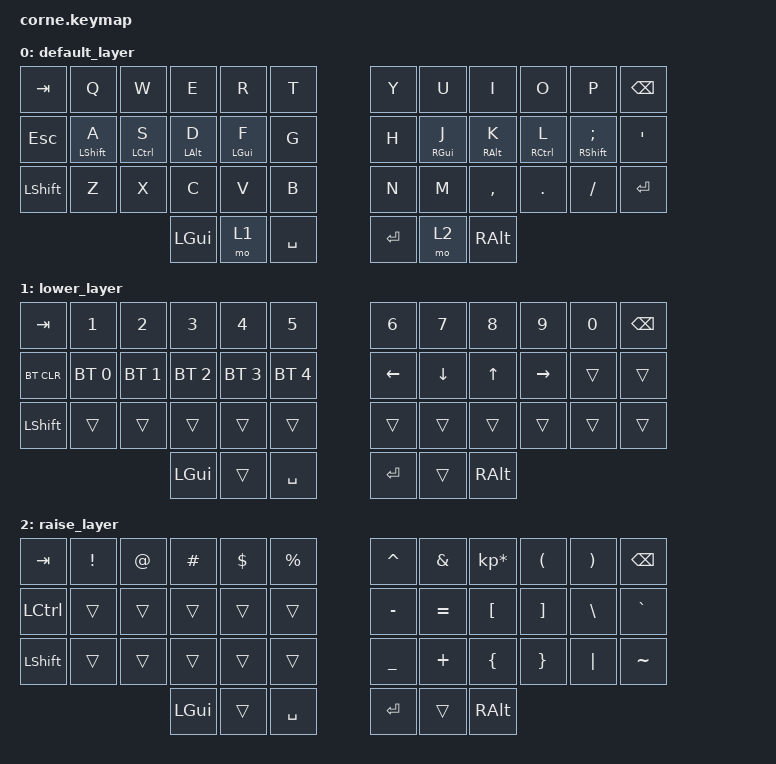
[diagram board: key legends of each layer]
/*
 * Copyright (c) 2020 The ZMK Contributors
 *
 * SPDX-License-Identifier: MIT
 */

#include <behaviors.dtsi>
#include <dt-bindings/zmk/keys.h>
#include <dt-bindings/zmk/bt.h>

/ {
    behaviors {
        hm: homerow_mods {
            compatible = "zmk,behavior-hold-tap";
            label = "HOMEROW_MODS";
            #binding-cells = <2>;
            tapping-term-ms = <280>;
            quick-tap-ms = <150>;
            flavor = "tap-preferred";
            bindings = <&kp>, <&kp>;
        };
    };

    keymap {
        compatible = "zmk,keymap";

        default_layer {
            // -----------------------------------------------------------------------------------------
            // |  TAB |  Q  |  W  |  E  |  R  |  T  |   |  Y  |  U   |  I  |  O  |  P  | BKSP |
            // | ESC  |  A  |  S  |  D  |  F  |  G  |   |  H  |  J   |  K  |  L  |  ;  |  '   |
            // | SHFT |  Z  |  X  |  C  |  V  |  B  |   |  N  |  M   |  ,  |  .  |  /  | ENT  |
            //                    | GUI | LWR | SPC |   | ENT | RSE  | ALT |
            bindings = <
&kp TAB   &kp Q       &kp W       &kp E        &kp R        &kp T   &kp Y &kp U        &kp I        &kp O       &kp P          &kp BSPC
&kp ESC   &hm LSHFT A &hm LCTRL S &hm LALT D   &hm LGUI F   &kp G   &kp H &hm RGUI J   &hm RALT K   &hm RCTRL L &hm RSHFT SEMI &kp SQT
&kp LSHFT &kp Z       &kp X       &kp C        &kp V        &kp B   &kp N &kp M        &kp COMMA    &kp DOT     &kp FSLH       &kp RET
                                  &kp LGUI     &mo 1        &kp SPACE &kp RET      &mo 2        &kp RALT
            >;
        };

        lower_layer {
            // -----------------------------------------------------------------------------------------
            // |  TAB |  1  |  2  |  3  |  4  |  5  |   |  6  |  7  |  8  |  9  |  0  | BKSP |
            // | BTCLR| BT1 | BT2 | BT3 | BT4 | BT5 |   | LFT | DWN |  UP | RGT |     |      |
            // | SHFT |     |     |     |     |     |   |     |     |     |     |     |      |
            //                    | GUI |     | SPC |   | ENT |     | ALT |
            bindings = <
&kp TAB    &kp N1       &kp N2       &kp N3       &kp N4       &kp N5         &kp N6   &kp N7   &kp N8 &kp N9    &kp N0 &kp BSPC
&bt BT_CLR &bt BT_SEL 0 &bt BT_SEL 1 &bt BT_SEL 2 &bt BT_SEL 3 &bt BT_SEL 4   &kp LEFT &kp DOWN &kp UP &kp RIGHT &trans &trans
&kp LSHFT  &trans       &trans       &trans       &trans       &trans         &trans   &trans   &trans &trans    &trans &trans
                                     &kp LGUI     &trans       &kp SPACE      &kp RET  &trans   &kp RALT
            >;
        };

        raise_layer {
            // -----------------------------------------------------------------------------------------
            // |  TAB |  !  |  @  |  #  |  $  |  %  |   |  ^  |  &  |  *  |  (  |  )  | BKSP |
            // | CTRL |     |     |     |     |     |   |  -  |  =  |  [  |  ]  |  \  |  `   |
            // | SHFT |     |     |     |     |     |   |  _  |  +  |  {  |  }  | "|" |  ~   |
            //                    | GUI |     | SPC |   | ENT |     | ALT |
            bindings = <
&kp  TAB  &kp EXCL &kp AT &kp HASH &kp DLLR &kp PRCNT   &kp CARET &kp AMPS  &kp KP_MULTIPLY &kp LPAR &kp RPAR &kp BSPC
&kp LCTRL &trans   &trans &trans   &trans   &trans      &kp MINUS &kp EQUAL &kp LBKT        &kp RBKT &kp BSLH &kp GRAVE
&kp LSHFT &trans   &trans &trans   &trans   &trans      &kp UNDER &kp PLUS  &kp LBRC        &kp RBRC &kp PIPE &kp TILDE
                          &kp LGUI &trans   &kp SPACE   &kp RET   &trans    &kp RALT
            >;
        };
    };
};
